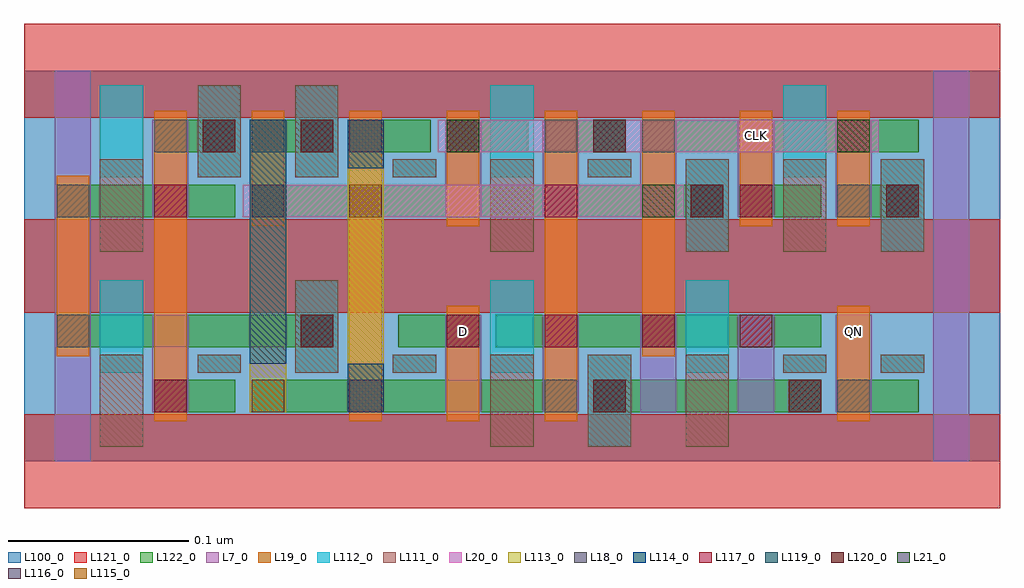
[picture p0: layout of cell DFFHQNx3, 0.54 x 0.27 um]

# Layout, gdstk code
import gdstk
lib = gdstk.Library(unit=1e-6, precision=2.5e-10)
def R(c, l, rs):  # rectangles x0, y0, x1, y1
    for r in rs: c.add(gdstk.rectangle(r[:2], r[2:], *l))
def A(c, l, x, y, w, h, nx, ny, dx, dy):  # array of equal rectangles
    R(c, l, [(x+i*dx, y+j*dy, x+i*dx+w, y+j*dy+h) for i in range(nx) for j in range(ny)])
L7_0 = (7, 0)
L18_0 = (18, 0)
L19_0 = (19, 0)
L20_0 = (20, 0)
L21_0 = (21, 0)
L100_0 = (100, 0)
L111_0 = (111, 0)
L112_0 = (112, 0)
L113_0 = (113, 0)
L114_0 = (114, 0)
L115_0 = (115, 0)
L116_0 = (116, 0)
L117_0 = (117, 0)
L119_0 = (119, 0)
L120_0 = (120, 0)
L121_0 = (121, 0)
L122_0 = (122, 0)

dffhqnx3 = lib.new_cell('DFFHQNx3')
A(dffhqnx3, L7_0, 0.233, 0.027, 0.02, 0.054, 5, 2, 0.054, 0.108)
R(dffhqnx3, L7_0, [(0.017,0,0.037,0.108), (0.503,0,0.523,0.108), (0.071,0.027,0.091,0.081), (0.017,0.108,0.037,0.216), (0.503,0.108,0.523,0.216), (0.071,0.135,0.091,0.189)])
A(dffhqnx3, L18_0, 0.072, 0.027, 0.018, 0.018, 3, 1, 0.108, 0)
A(dffhqnx3, L18_0, 0.072, 0.171, 0.018, 0.018, 6, 1, 0.054, 0)
R(dffhqnx3, L18_0, [(0.45,0.027,0.468,0.045), (0.018,0.063,0.036,0.081), (0.234,0.063,0.252,0.081), (0.342,0.063,0.36,0.081), (0.018,0.135,0.036,0.153), (0.396,0.135,0.414,0.153), (0.45,0.135,0.468,0.153)])
A(dffhqnx3, L19_0, 0.072, 0.022, 0.018, 0.172, 3, 1, 0.108, 0)
R(dffhqnx3, L19_0, [(0.234,0.022,0.252,0.086), (0.45,0.022,0.468,0.086), (0.018,0.058,0.036,0.158), (0.342,0.058,0.36,0.194), (0.126,0.13,0.144,0.194), (0.234,0.13,0.252,0.194), (0.396,0.13,0.414,0.194), (0.45,0.13,0.468,0.194)])
R(dffhqnx3, L20_0, [(0.121,0.135,0.365,0.153), (0.229,0.171,0.473,0.189)])
R(dffhqnx3, L21_0, [(0.126,0.135,0.144,0.153), (0.342,0.135,0.36,0.153), (0.234,0.171,0.252,0.189), (0.45,0.171,0.468,0.189)])
R(dffhqnx3, L100_0, [(0,0,0.54,0.216)])
A(dffhqnx3, L111_0, 0.258, 0.008, 0.024, 0.051, 3, 1, 0.054, 0)
A(dffhqnx3, L111_0, 0.366, 0.116, 0.024, 0.051, 3, 1, 0.054, 0)
R(dffhqnx3, L111_0, [(0.042,0.008,0.066,0.059), (0.096,0.049,0.12,0.059), (0.15,0.049,0.174,0.1), (0.204,0.049,0.228,0.059), (0.42,0.049,0.444,0.059), (0.474,0.049,0.498,0.059), (0.042,0.116,0.066,0.167), (0.258,0.116,0.282,0.167), (0.096,0.157,0.12,0.208), (0.15,0.157,0.174,0.208), (0.204,0.157,0.228,0.167), (0.312,0.157,0.336,0.167)])
A(dffhqnx3, L112_0, 0.042, 0.049, 0.024, 0.051, 4, 1, 0.108, 0)
A(dffhqnx3, L112_0, 0.042, 0.157, 0.024, 0.051, 3, 1, 0.054, 0)
R(dffhqnx3, L112_0, [(0.312,0.008,0.336,0.059), (0.096,0.049,0.12,0.059), (0.204,0.049,0.228,0.059), (0.42,0.049,0.444,0.059), (0.474,0.049,0.498,0.059), (0.366,0.116,0.39,0.167), (0.474,0.116,0.498,0.167), (0.204,0.157,0.228,0.167), (0.258,0.157,0.282,0.208), (0.312,0.157,0.336,0.167), (0.42,0.157,0.444,0.208)])
R(dffhqnx3, L113_0, [(0.125,0.027,0.145,0.108), (0.179,0.027,0.199,0.108), (0.125,0.108,0.145,0.189), (0.179,0.108,0.199,0.189)])
R(dffhqnx3, L114_0, [(0.179,0.027,0.199,0.054), (0.125,0.054,0.145,0.108), (0.125,0.108,0.145,0.189), (0.179,0.162,0.199,0.189)])
R(dffhqnx3, L115_0, [(0.126,0.027,0.144,0.045), (0.18,0.135,0.198,0.153)])
R(dffhqnx3, L116_0, [(0.18,0.027,0.198,0.045), (0.126,0.135,0.144,0.153), (0.18,0.171,0.198,0.189)])
A(dffhqnx3, L117_0, 0.234, 0.063, 0.018, 0.018, 4, 1, 0.054, 0)
R(dffhqnx3, L117_0, [(0.072,0.027,0.09,0.045), (0.072,0.135,0.09,0.153), (0.288,0.135,0.306,0.153), (0.396,0.135,0.414,0.153), (0.234,0.171,0.252,0.189), (0.45,0.171,0.468,0.189)])
R(dffhqnx3, L119_0, [(0.315,0.027,0.333,0.045), (0.423,0.027,0.441,0.045), (0.153,0.063,0.171,0.081), (0.369,0.135,0.387,0.153), (0.477,0.135,0.495,0.153), (0.099,0.171,0.117,0.189), (0.153,0.171,0.171,0.189), (0.315,0.171,0.333,0.189)])
R(dffhqnx3, L120_0, [(0.315,0.027,0.333,0.045), (0.423,0.027,0.441,0.045), (0.153,0.063,0.171,0.081), (0.369,0.135,0.387,0.153), (0.477,0.135,0.495,0.153), (0.099,0.171,0.117,0.189), (0.153,0.171,0.171,0.189), (0.315,0.171,0.333,0.189)])
A(dffhqnx3, L121_0, 0, -0.026, 0.54, 0.052, 1, 3, 0, 0.108)
A(dffhqnx3, L122_0, 0.072, 0.171, 0.045, 0.018, 5, 1, 0.054, 0)
R(dffhqnx3, L122_0, [(0.072,0.027,0.117,0.045), (0.126,0.027,0.306,0.045), (0.315,0.027,0.441,0.045), (0.45,0.027,0.495,0.045), (0.018,0.063,0.171,0.081), (0.207,0.063,0.252,0.081), (0.261,0.063,0.441,0.081), (0.018,0.135,0.117,0.153), (0.126,0.135,0.387,0.153), (0.396,0.135,0.441,0.153), (0.45,0.135,0.495,0.153), (0.342,0.171,0.495,0.189)])
dffhqnx3.add(gdstk.Label('QN', (0.459,0.072), layer=19, texttype=251))
dffhqnx3.add(gdstk.Label('D', (0.243,0.072), layer=19, texttype=251))
dffhqnx3.add(gdstk.Label('CLK', (0.405,0.18), layer=19, texttype=251))

lib.write_gds('DFFHQNx3.gds')
